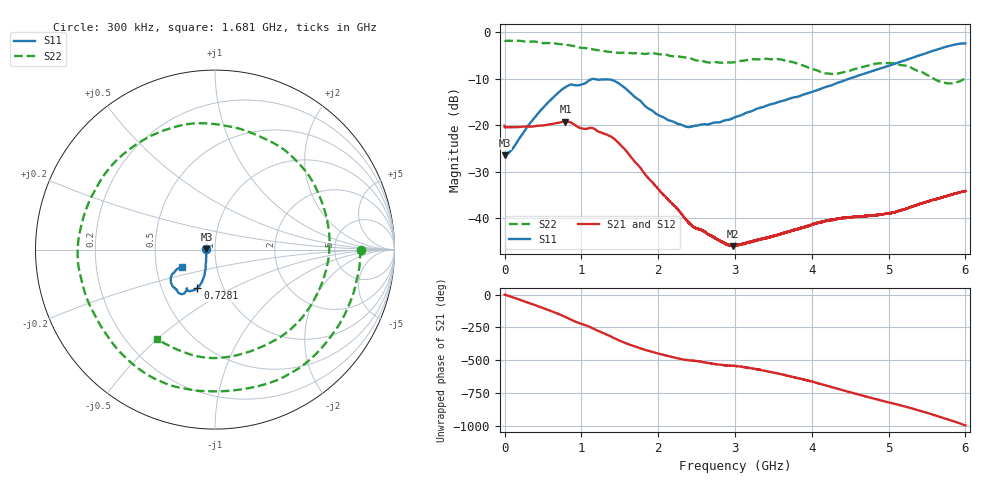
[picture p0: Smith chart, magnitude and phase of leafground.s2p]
!  8/6/2020  02:33:24
! Ref Plane: 0.000 mm
# MHZ S MA R  50
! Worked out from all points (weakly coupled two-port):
!   10001 points, 300 kHz to 6 GHz, reference 50 ohm
!   highest |S21| = -19.22 dB at 792.3 MHz (marker M1); lowest = -46.0 dB at 2.973 GHz (marker M2)
!   lowest |S11| = -26.5 dB at 300 kHz (marker M3), VSWR 1.10, Z = 45.5 + j0.0996 ohm
!   |S11| at or under -10 dB: start of sweep to 4.486 GHz
!   |S22| runs from -11.0 to -1.8 dB; largest |S21 - S12| = 0.0024
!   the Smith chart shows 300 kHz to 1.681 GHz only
!   S11 on the Smith chart (normalised r, x): 300 kHz: 0.91, +0.00; 728.1 MHz: 0.76, -0.34; 1.681 GHz: 0.68, -0.14
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0.3  0.04743 178.7  0.09891 -1.0  0.09654 -0.8  0.8155 -0.3
336.2832  0.1066 -119.1  0.09653 -68.4  0.09667 -68.4  0.7921 -100.5
545.6727  0.1686 -112.1  0.1009 -112.0  0.1011 -112.0  0.7639 -160.8
728.0636  0.2358 -114.4  0.1076 -153.7  0.1078 -153.7  0.745 147.9
792.2604  0.2569 -117.8  0.1094 -170.7  0.1095 -170.7  0.7337 129.5
1000.45  0.2737 -124.9  0.09268 137.6  0.09271 137.6  0.6793 69.8
1283.036  0.3098 -135.7  0.08171 68.0  0.08176 68.0  0.6285 -11.2
1494.825  0.2793 -149.6  0.06321 10.5  0.0633 10.6  0.6 -71.7
1680.816  0.2068 -151.9  0.04194 -32.1  0.04201 -32.2  0.5937 -123.0
2000.6  0.129 -136.1  0.02064 -88.0  0.02064 -88.0  0.581 152.5
2259.187  0.1033 -114.7  0.01231 -125.2  0.01232 -125.2  0.551 84.1
2535.773  0.1005 -83.9  0.007663 -148.0  0.007631 -147.7  0.4963 6.3
2972.551  0.1188 -48.7  0.005014 178.8  0.005064 178.3  0.473 -124.5
3000.15  0.1221 -46.6  0.00502 177.2  0.005081 177.8  0.4763 -132.9
3237.138  0.1442 -33.4  0.005693 157.5  0.005678 157.6  0.5134 164.1
3528.124  0.1733 -20.4  0.006544 124.2  0.006498 123.8  0.5122 93.2
4000.3  0.2281 -1.1  0.008537 59.0  0.008562 59.3  0.4021 -28.3
4229.489  0.2647 6.8  0.009542 21.9  0.009535 21.8  0.3589 -101.2
4492.275  0.3174 13.8  0.01017 -21.0  0.01025 -20.9  0.3846 175.2
5000.45  0.4353 22.3  0.01132 -99.0  0.01128 -98.9  0.465 49.1
5514.024  0.6055 24.1  0.0152 179.2  0.01517 179.1  0.3428 -75.7
6000  0.7582 10.4  0.01956 86.0  0.0196 86.1  0.321 120.7
